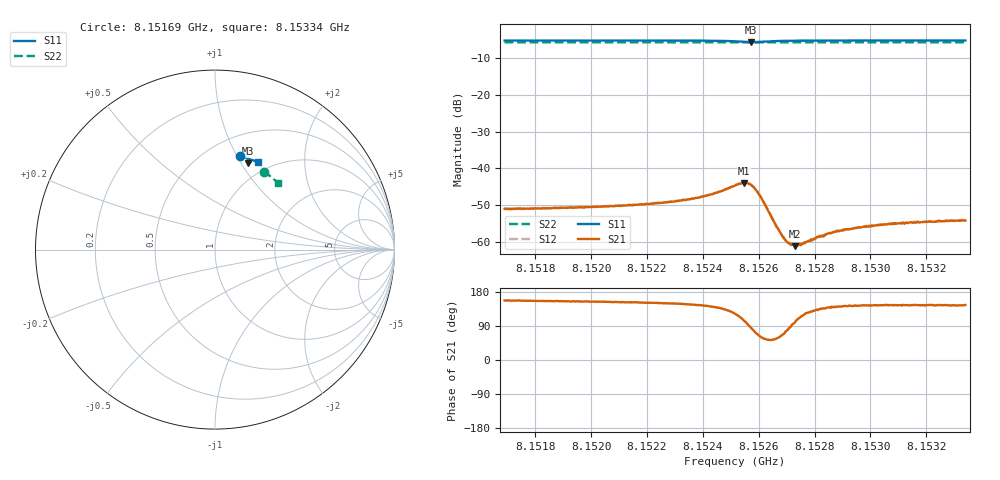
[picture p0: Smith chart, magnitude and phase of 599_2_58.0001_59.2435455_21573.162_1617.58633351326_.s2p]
#  HZ  S  RI  R  50.00
! Rohde & Schwarz Vector Network Analyzer
! Rohde-Schwarz,ZNB20-2Port,1311601062101988,3.16
! Created: UTC 3/21/2024, 1:17:09 AM
! freq[Hz]  re:S11  im:S11  re:S21  im:S21  re:S12  im:S12  re:S22  im:S22
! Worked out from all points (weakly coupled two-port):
!   401 points, 8.15169 GHz to 8.15334 GHz, reference 50 ohm
!   highest |S21| = -43.93 dB at 8.152548 GHz (marker M1); lowest = -61.0 dB at 8.15273 GHz (marker M2)
!   lowest |S11| = -5.8 dB at 8.152573 GHz (marker M3), VSWR 3.12, Z = 41.1 + j53.7 ohm
!   |S11| at or under -10 dB: nowhere
!   |S22| runs from -5.8 to -5.8 dB; largest |S21 - S12| = 0.00013
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8.1516904e9  0.1367 0.5224  -0.00261 0.0011  -0.0026 0.00116  0.2704 0.4351
8.1519667e9  0.1561 0.5174  -0.0027 0.00129  -0.00273 0.00133  0.2853 0.425
8.1522431e9  0.1763 0.5108  -0.00293 0.00169  -0.00294 0.00175  0.2995 0.4147
8.1523132e9  0.1818 0.5085  -0.0031 0.00188  -0.00308 0.00197  0.3032 0.4118
8.1523957e9  0.1888 0.5048  -0.00336 0.00241  -0.00332 0.00247  0.3073 0.4085
8.1524617e9  0.1951 0.4993  -0.00355 0.00332  -0.00349 0.00341  0.3106 0.4058
8.1525153e9  0.1982 0.4897  -0.00312 0.00496  -0.00307 0.00504  0.3132 0.4034
8.1525483e9  0.1937 0.4816  -0.00147 0.00619  -0.00147 0.00626  0.3145 0.4019
8.152573e9  0.1852 0.4804  0.000609 0.00591  0.000662 0.00597  0.3151 0.401
8.1525895e9  0.1803 0.4841  0.00161 0.00488  0.00171 0.00489  0.316 0.4005
8.152606e9  0.1785 0.4891  0.00199 0.00367  0.00208 0.00367  0.3166 0.4001
8.1526679e9  0.1858 0.5002  0.000817 0.00133  0.000832 0.00131  0.32 0.398
8.1526885e9  0.1888 0.5012  0.000426 0.00106  0.000449 0.00111  0.3211 0.3972
8.1527091e9  0.1915 0.5016  8.57e-05 0.000971  9.6e-05 0.00097  0.3222 0.3963
8.1527298e9  0.194 0.5017  -0.00014 0.000882  -0.000118 0.000876  0.3231 0.3956
8.1527586e9  0.1972 0.5015  -0.000443 0.000856  -0.000451 0.000838  0.3248 0.3943
8.1527916e9  0.2006 0.501  -0.00066 0.000853  -0.000664 0.000846  0.3264 0.393
8.1528164e9  0.2028 0.5006  -0.000824 0.000873  -0.000856 0.000881  0.3275 0.392
8.1528947e9  0.2093 0.4988  -0.00111 0.000907  -0.00111 0.000925  0.3313 0.3886
8.1529731e9  0.2153 0.4967  -0.00131 0.000946  -0.0013 0.000987  0.3351 0.3852
8.153068e9  0.222 0.4942  -0.00146 0.00101  -0.00143 0.00107  0.3396 0.3811
8.1533402e9  0.2403 0.4862  -0.00161 0.00113  -0.00158 0.00119  0.352 0.3691
